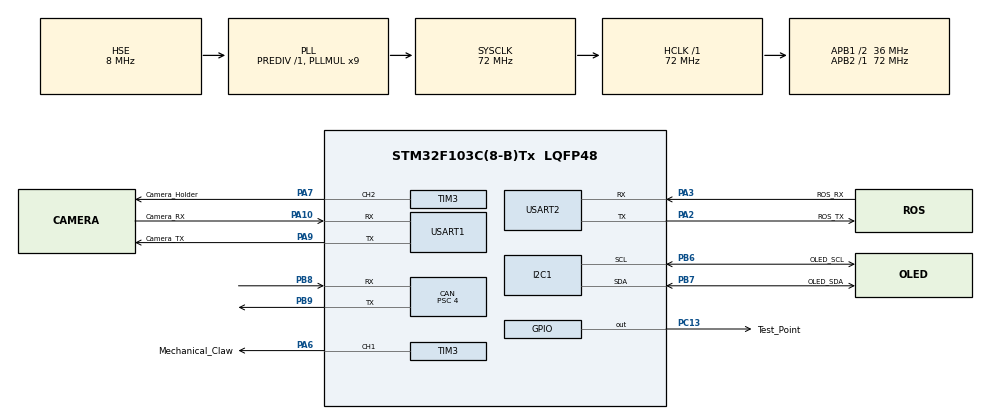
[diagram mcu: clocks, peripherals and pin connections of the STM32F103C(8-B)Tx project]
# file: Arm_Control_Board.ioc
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CAN.ABOM=ENABLE
CAN.BS1=CAN_BS1_4TQ
CAN.BS2=CAN_BS2_4TQ
CAN.CalculateBaudRate=1000000
CAN.CalculateTimeBit=1000
CAN.CalculateTimeQuantum=111.11111111111111
CAN.NART=ENABLE
CAN.Prescaler=4
I2C1.I2C_Mode=I2C_Fast
Mcu.Family=STM32F1
Mcu.Name=STM32F103C(8-B)Tx
Mcu.Package=LQFP48
NVIC.CAN1_RX1_IRQn=true\:0\:0\:false\:false\:true\:true\:true\:true
NVIC.PriorityGroup=NVIC_PRIORITYGROUP_4
NVIC.USART1_IRQn=true\:0\:0\:false\:false\:true\:true\:true\:true
NVIC.USART2_IRQn=true\:0\:0\:false\:false\:true\:true\:true\:true
PA10.GPIO_Label=Camera_RX
PA10.Mode=Asynchronous
PA10.Signal=USART1_RX
PA13.Mode=Serial_Wire
PA13.Signal=SYS_JTMS-SWDIO
PA14.Mode=Serial_Wire
PA14.Signal=SYS_JTCK-SWCLK
PA2.GPIO_Label=ROS_TX
PA2.Mode=Asynchronous
PA2.Signal=USART2_TX
PA3.GPIO_Label=ROS_RX
PA3.Mode=Asynchronous
PA3.Signal=USART2_RX
PA6.GPIO_Label=Mechanical_Claw
PA6.Signal=S_TIM3_CH1
PA7.GPIO_Label=Camera_Holder
PA7.Signal=S_TIM3_CH2
PA9.GPIO_Label=Camera_TX
PA9.Mode=Asynchronous
PA9.Signal=USART1_TX
PB6.GPIO_Label=OLED_SCL
PB6.Mode=I2C
PB6.Signal=I2C1_SCL
PB7.GPIO_Label=OLED_SDA
PB7.Mode=I2C
PB7.Signal=I2C1_SDA
PB8.Mode=CAN_Activate
PB8.Signal=CAN_RX
PB9.Mode=CAN_Activate
PB9.Signal=CAN_TX
PC13-TAMPER-RTC.GPIO_Label=Test_Point
PC13-TAMPER-RTC.Signal=GPIO_Output
PC14-OSC32_IN.Mode=LSE-External-Oscillator
PC14-OSC32_IN.Signal=RCC_OSC32_IN
PC15-OSC32_OUT.Mode=LSE-External-Oscillator
PC15-OSC32_OUT.Signal=RCC_OSC32_OUT
PD0-OSC_IN.Mode=HSE-External-Oscillator
PD0-OSC_IN.Signal=RCC_OSC_IN
PD1-OSC_OUT.Mode=HSE-External-Oscillator
PD1-OSC_OUT.Signal=RCC_OSC_OUT
ProjectManager.HeapSize=0x200
ProjectManager.StackSize=0x400
ProjectManager.TargetToolchain=CMake
RCC.AHBFreq_Value=72000000
RCC.APB1CLKDivider=RCC_HCLK_DIV2
RCC.APB1Freq_Value=36000000
RCC.APB1TimFreq_Value=72000000
RCC.APB2Freq_Value=72000000
RCC.APB2TimFreq_Value=72000000
RCC.HCLKFreq_Value=72000000
RCC.PLLMUL=RCC_PLL_MUL9
RCC.PLLSourceVirtual=RCC_PLLSOURCE_HSE
RCC.SYSCLKFreq_VALUE=72000000
RCC.SYSCLKSource=RCC_SYSCLKSOURCE_PLLCLK
RCC.USBFreq_Value=72000000
SH.S_TIM3_CH1.0=TIM3_CH1,PWM Generation1 CH1
SH.S_TIM3_CH2.0=TIM3_CH2,PWM Generation2 CH2
TIM3.AutoReloadPreload=TIM_AUTORELOAD_PRELOAD_ENABLE
TIM3.Channel-PWM\ Generation1\ CH1=TIM_CHANNEL_1
TIM3.Channel-PWM\ Generation2\ CH2=TIM_CHANNEL_2
TIM3.CounterMode=TIM_COUNTERMODE_UP
TIM3.Period=1999
TIM3.Prescaler=719
USART1.VirtualMode=VM_ASYNC
USART2.VirtualMode=VM_ASYNC
VP_TIM3_VS_ClockSourceINT.Mode=Internal
board=custom

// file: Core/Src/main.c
/* USER CODE BEGIN Header */
/**
  ******************************************************************************
  * @file           : main.c
  * @brief          : Main program body
  ******************************************************************************
  * @attention
  *
  * Copyright (c) 2026 STMicroelectronics.
  * All rights reserved.
  *
  * This software is licensed under terms that can be found in the LICENSE file
  * in the root directory of this software component.
  * If no LICENSE file comes with this software, it is provided AS-IS.
  *
  ******************************************************************************
  */
/* USER CODE END Header */
#include "main.h"
#include "can.h"
#include "i2c.h"
#include "tim.h"
#include "usart.h"
#include "gpio.h"

/* USER CODE BEGIN Includes */
#include "oled.h"
#include "servo.h"
#include "Arm.h"
#include <stdio.h>
#include "ArmCommunication.h"
#include <string.h>

/* USER CODE END Includes */

/* USER CODE BEGIN PV */
char oled_buffer[20];
/* USER CODE END PV */

void SystemClock_Config(void);
/* USER CODE BEGIN PFP */
static void OLED_Show_Data(void);
/* USER CODE END PFP */

int main(void)
{

  /* MCU Configuration--------------------------------------------------------*/

  /* Reset of all peripherals, Initializes the Flash interface and the Systick. */
  HAL_Init();

  /* Configure the system clock */
  SystemClock_Config();

  /* Initialize all configured peripherals */
  MX_GPIO_Init();
  MX_CAN_Init();
  MX_I2C1_Init();
  MX_TIM3_Init();
  MX_USART1_UART_Init();
  MX_USART2_UART_Init();
  /* USER CODE BEGIN 2 */
    if (HAL_CAN_Start(&hcan) != HAL_OK) {
        Error_Handler();
    }

    CAN_FilterTypeDef sFilterConfig;
    sFilterConfig.FilterBank = 0;
    sFilterConfig.FilterMode = CAN_FILTERMODE_IDMASK;
    sFilterConfig.FilterScale = CAN_FILTERSCALE_32BIT;
    sFilterConfig.FilterIdHigh = 0x0000;
    sFilterConfig.FilterIdLow = 0x0000;
    sFilterConfig.FilterMaskIdHigh = 0x0000;
    sFilterConfig.FilterMaskIdLow = 0x0000;
    sFilterConfig.FilterFIFOAssignment = CAN_RX_FIFO0;
    sFilterConfig.FilterActivation = ENABLE;
    sFilterConfig.SlaveStartFilterBank = 14;
    HAL_CAN_ConfigFilter(&hcan, &sFilterConfig);

    // 使能接收中断
    HAL_CAN_ActivateNotification(&hcan, CAN_IT_RX_FIFO0_MSG_PENDING);

    HAL_GPIO_WritePin(GPIOC, Test_Point_Pin, SET);

    OLED_Init();
    HAL_Delay(100);
    OLED_DisPlay_On();
    OLED_NewFrame();
    OLED_DrawImage(0, 5, &ScuImg, OLED_COLOR_NORMAL);
    HAL_Delay(1000);
    OLED_ShowFrame();

    Servo_Init(&mechanical_claw_servo, &htim3, TIM_CHANNEL_1);
    Stepper_Init(&steppers[0], 1, 5000, 2000);
    Stepper_Init(&steppers[1], 2, 5000, 2000);
    Arm_Serial_Init();
    //Arm_Init();
  /* USER CODE END 2 */

  /* Infinite loop */
  /* USER CODE BEGIN WHILE */
  while (1)
  {

      OLED_Show_Data();
      if (getSteps && isPick) {
          Move_to_Get();
          isPick = false;
          Servo_Set_Angel(&mechanical_claw_servo, 0);
          Move_to_Robot();
          move_steps = 0;
      }

      if (isPut) {
          Move_to_Box();
          Servo_Set_Angel(&mechanical_claw_servo, 60);
          Move_to_Origin();
          Servo_Set_Angel(&mechanical_claw_servo, 0);
          isPut = false;
      }

    /* USER CODE END WHILE */

  }
}

void SystemClock_Config(void)
{
  RCC_OscInitTypeDef RCC_OscInitStruct = {0};
  RCC_ClkInitTypeDef RCC_ClkInitStruct = {0};

  /** Initializes the RCC Oscillators according to the specified parameters
  * in the RCC_OscInitTypeDef structure.
  */
  RCC_OscInitStruct.OscillatorType = RCC_OSCILLATORTYPE_HSE;
  RCC_OscInitStruct.HSEState = RCC_HSE_ON;
  RCC_OscInitStruct.HSEPredivValue = RCC_HSE_PREDIV_DIV1;
  RCC_OscInitStruct.HSIState = RCC_HSI_ON;
  RCC_OscInitStruct.PLL.PLLState = RCC_PLL_ON;
  RCC_OscInitStruct.PLL.PLLSource = RCC_PLLSOURCE_HSE;
  RCC_OscInitStruct.PLL.PLLMUL = RCC_PLL_MUL9;
  if (HAL_RCC_OscConfig(&RCC_OscInitStruct) != HAL_OK)
  {
    Error_Handler();
  }

  /** Initializes the CPU, AHB and APB buses clocks
  */
  RCC_ClkInitStruct.ClockType = RCC_CLOCKTYPE_HCLK|RCC_CLOCKTYPE_SYSCLK
                              |RCC_CLOCKTYPE_PCLK1|RCC_CLOCKTYPE_PCLK2;
  RCC_ClkInitStruct.SYSCLKSource = RCC_SYSCLKSOURCE_PLLCLK;
  RCC_ClkInitStruct.AHBCLKDivider = RCC_SYSCLK_DIV1;
  RCC_ClkInitStruct.APB1CLKDivider = RCC_HCLK_DIV2;
  RCC_ClkInitStruct.APB2CLKDivider = RCC_HCLK_DIV1;

  if (HAL_RCC_ClockConfig(&RCC_ClkInitStruct, FLASH_LATENCY_2) != HAL_OK)
  {
    Error_Handler();
  }
}

/* USER CODE BEGIN 4 */
static void OLED_Show_Data(void) {
    OLED_NewFrame();
    OLED_PrintASCIIString(0, 0, "-----Arm Control-----", &afont8x6, OLED_COLOR_NORMAL);

    // 摄像头传入坐标
    snprintf(oled_buffer, sizeof(oled_buffer), "%d", move_steps);
    OLED_PrintASCIIString(0, 12, "Steps:", &afont8x6, OLED_COLOR_NORMAL);
    OLED_PrintASCIIString(42, 12, oled_buffer, &afont8x6, OLED_COLOR_NORMAL);

    // 步进电机步距移动情况
    snprintf(oled_buffer, sizeof(oled_buffer), "%d", steppers[0].isPosition);
    OLED_PrintASCIIString(0, 20, "Position:", &afont8x6, OLED_COLOR_NORMAL);
    OLED_PrintASCIIString(60, 20, oled_buffer, &afont8x6, OLED_COLOR_NORMAL);

    snprintf(oled_buffer, sizeof(oled_buffer), "%d", steppers[0].isStall);
    OLED_PrintASCIIString(0, 30, "Stall:", &afont8x6, OLED_COLOR_NORMAL);
    OLED_PrintASCIIString(42, 30, oled_buffer, &afont8x6, OLED_COLOR_NORMAL);

    OLED_ShowFrame();
}

/* USER CODE END 4 */

void Error_Handler(void)
{
  __disable_irq();
  while (1)
  {
  }
}
